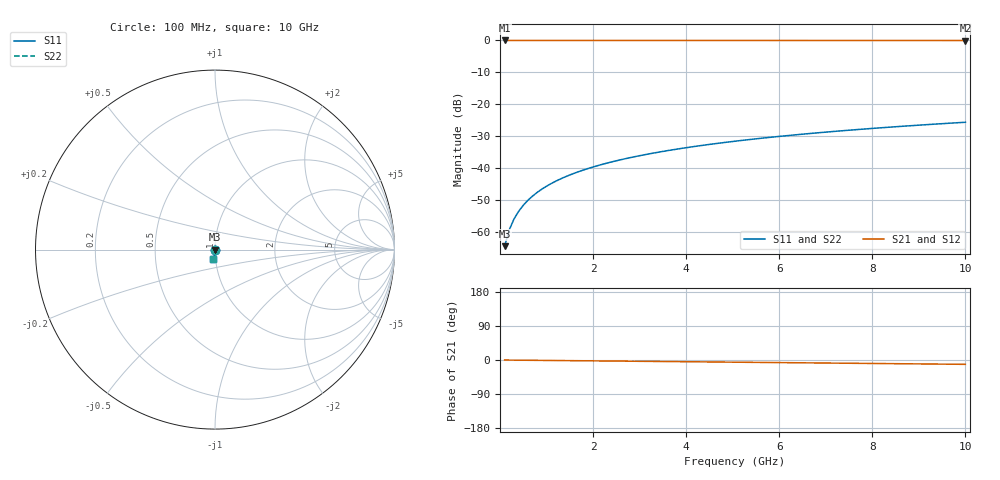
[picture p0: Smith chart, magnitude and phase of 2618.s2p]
# Hz S RI R 50.00
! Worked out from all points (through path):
!   100 points, 100 MHz to 10 GHz, reference 50 ohm
!   highest |S21| = 0.00 dB at 100 MHz (marker M1); lowest = 0.0 dB at 10 GHz (marker M2)
!   group delay of S21, straight-line fit = 3.18 ps
!   lowest |S11| = -64.4 dB at 100 MHz (marker M3), VSWR 1.00, Z = 50 - j0.0523 ohm
!   |S11| at or under -10 dB: start of sweep to end of sweep
!   |S22| runs from -64.4 to -25.6 dB; largest |S21 - S12| = 0
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1e8  0.000301 -0.000523  0.9997 -0.00198  0.9997 -0.00198  0.000301 -0.000523
2e8  0.000299 -0.00105  0.9997 -0.00396  0.9997 -0.00396  0.000299 -0.00105
3e8  0.000294 -0.00157  0.9997 -0.00594  0.9997 -0.00594  0.000294 -0.00157
4e8  0.000287 -0.00209  0.9997 -0.00792  0.9997 -0.00792  0.000287 -0.00209
5e8  0.000278 -0.00261  0.9996 -0.00991  0.9996 -0.00991  0.000278 -0.00261
6e8  0.000266 -0.00314  0.9996 -0.0119  0.9996 -0.0119  0.000266 -0.00314
7e8  0.000252 -0.00366  0.9996 -0.0139  0.9996 -0.0139  0.000252 -0.00366
8e8  0.000236 -0.00418  0.9995 -0.0159  0.9995 -0.0159  0.000236 -0.00418
9e8  0.000218 -0.00471  0.9995 -0.0178  0.9995 -0.0178  0.000218 -0.00471
1.1e9  0.000176 -0.00575  0.9994 -0.0218  0.9994 -0.0218  0.000176 -0.00575
1.4e9  9.61e-05 -0.00732  0.9993 -0.0277  0.9993 -0.0277  9.61e-05 -0.00732
1.8e9  -3.94e-05 -0.00942  0.999 -0.0357  0.999 -0.0357  -3.94e-05 -0.00942
2.1e9  -0.000163 -0.011  0.9987 -0.0416  0.9987 -0.0416  -0.000163 -0.011
2.5e9  -0.000357 -0.0131  0.9983 -0.0496  0.9983 -0.0496  -0.000357 -0.0131
2.9e9  -0.000585 -0.0152  0.9979 -0.0575  0.9979 -0.0575  -0.000585 -0.0152
3.4e9  -0.000917 -0.0178  0.9972 -0.0674  0.9972 -0.0674  -0.000917 -0.0178
4.2e9  -0.00156 -0.022  0.9959 -0.0833  0.9959 -0.0833  -0.00156 -0.022
5.1e9  -0.00244 -0.0266  0.9941 -0.1012  0.9941 -0.1012  -0.00244 -0.0266
5.9e9  -0.00336 -0.0308  0.9922 -0.1171  0.9922 -0.1171  -0.00336 -0.0308
6.7e9  -0.00442 -0.0349  0.9901 -0.1329  0.9901 -0.1329  -0.00442 -0.0349
8.4e9  -0.00712 -0.0435  0.9846 -0.1666  0.9846 -0.1666  -0.00712 -0.0435
1e10  -0.0102 -0.0515  0.9783 -0.1982  0.9783 -0.1982  -0.0102 -0.0515
